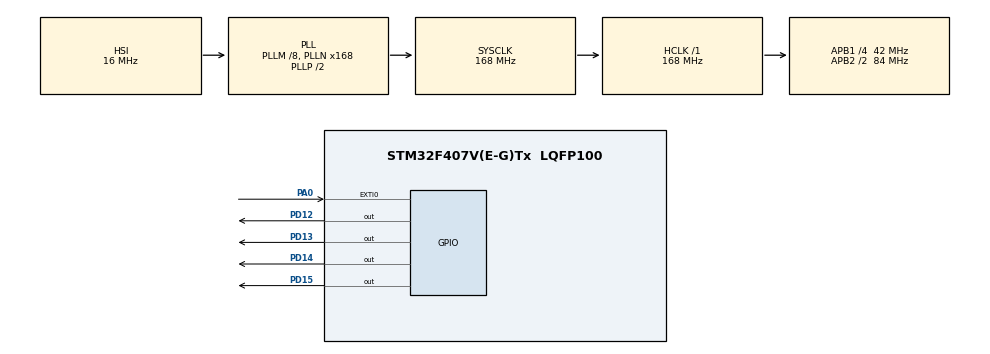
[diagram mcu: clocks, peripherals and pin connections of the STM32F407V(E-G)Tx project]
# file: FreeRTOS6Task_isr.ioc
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Mcu.Family=STM32F4
Mcu.Name=STM32F407V(E-G)Tx
Mcu.Package=LQFP100
NVIC.EXTI0_IRQn=true\:6\:0\:true\:false\:true\:true\:true\:true
NVIC.PriorityGroup=NVIC_PRIORITYGROUP_4
NVIC.TIM6_DAC_IRQn=true\:15\:0\:false\:false\:true\:false\:true\:true
NVIC.TimeBase=TIM6_DAC_IRQn
NVIC.TimeBaseIP=TIM6
PA0-WKUP.Signal=GPXTI0
PD12.Signal=GPIO_Output
PD13.Signal=GPIO_Output
PD14.Signal=GPIO_Output
PD15.Signal=GPIO_Output
PH0-OSC_IN.Mode=HSE-External-Oscillator
PH0-OSC_IN.Signal=RCC_OSC_IN
PH1-OSC_OUT.Mode=HSE-External-Oscillator
PH1-OSC_OUT.Signal=RCC_OSC_OUT
ProjectManager.HeapSize=0x200
ProjectManager.StackSize=0x400
ProjectManager.TargetToolchain=STM32CubeIDE
RCC.48MHZClocksFreq_Value=84000000
RCC.AHBFreq_Value=168000000
RCC.APB1CLKDivider=RCC_HCLK_DIV4
RCC.APB1Freq_Value=42000000
RCC.APB1TimFreq_Value=84000000
RCC.APB2CLKDivider=RCC_HCLK_DIV2
RCC.APB2Freq_Value=84000000
RCC.APB2TimFreq_Value=168000000
RCC.CortexFreq_Value=168000000
RCC.HCLKFreq_Value=168000000
RCC.HSE_VALUE=25000000
RCC.HSI_VALUE=16000000
RCC.LSE_VALUE=32768
RCC.PLLM=8
RCC.PLLN=168
RCC.SYSCLKFreq_VALUE=168000000
RCC.SYSCLKSource=RCC_SYSCLKSOURCE_PLLCLK
RCC.VCOOutputFreq_Value=336000000
VP_SYS_VS_tim6.Mode=TIM6
board=custom

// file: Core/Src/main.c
/* USER CODE BEGIN Header */
/**
  ******************************************************************************
  * @file           : main.c
  * @brief          : Main program body
  ******************************************************************************
  * @attention
  *
  * Copyright (c) 2023 STMicroelectronics.
  * All rights reserved.
  *
  * This software is licensed under terms that can be found in the LICENSE file
  * in the root directory of this software component.
  * If no LICENSE file comes with this software, it is provided AS-IS.
  *
  ******************************************************************************
  */
/* USER CODE END Header */
#include "main.h"

/* USER CODE BEGIN Includes */
#include <stdio.h>
#include "FreeRTOS.h"
#include "task.h"
/* USER CODE END Includes */

/* USER CODE BEGIN PV */
#define DWT_CTRL (*(volatile uint32_t*) 0xE0001000)   // for segger sysview config
/* USER CODE END PV */

void SystemClock_Config(void);
static void MX_GPIO_Init(void);
/* USER CODE BEGIN PFP */

static void led_green_handler (void* parameters);
static void led_orange_handler (void* parameters);
static void led_red_handler (void* parameters);
static void led_blue_handler (void* parameters);

extern void SEGGER_UART_init(uint32_t);

TaskHandle_t ledg_task_handle;
TaskHandle_t ledr_task_handle;
TaskHandle_t ledo_task_handle;
TaskHandle_t ledb_task_handle;
TaskHandle_t btn_task_handle;

TaskHandle_t volatile next_task_handle = NULL;

/* USER CODE END PFP */

int main(void)
{
  /* USER CODE BEGIN 1 */
	BaseType_t status;
  /* USER CODE END 1 */

  /* MCU Configuration--------------------------------------------------------*/

  /* Reset of all peripherals, Initializes the Flash interface and the Systick. */
  HAL_Init();

  /* Configure the system clock */
  SystemClock_Config();

  /* Initialize all configured peripherals */
  MX_GPIO_Init();
  /* USER CODE BEGIN 2 */

  SEGGER_UART_init(500000);

  //CYCLCNT enable
  DWT_CTRL |= ( 1 << 0);

  SEGGER_SYSVIEW_Conf();
  printf("in main loop");
  status = xTaskCreate(led_green_handler, "LED_green_task", 200, NULL, 4, &ledg_task_handle);

  configASSERT(status == pdPASS);

  next_task_handle = ledg_task_handle;

  status = xTaskCreate(led_red_handler, "LED_red_task", 200,NULL, 3, &ledr_task_handle);

  configASSERT(status == pdPASS);

  status = xTaskCreate(led_orange_handler, "LED_orange_task", 200, NULL, 2, &ledo_task_handle);

  configASSERT(status == pdPASS);

  status = xTaskCreate(led_blue_handler, "LED_blue_task", 200, NULL, 1, &ledb_task_handle);

  configASSERT(status == pdPASS);

  //start the freeRTOS scheduler
  vTaskStartScheduler();

  /* USER CODE END 2 */

  /* Infinite loop */
  while (1)
  {

  }
}

void SystemClock_Config(void)
{
  RCC_OscInitTypeDef RCC_OscInitStruct = {0};
  RCC_ClkInitTypeDef RCC_ClkInitStruct = {0};

  /** Configure the main internal regulator output voltage
  */
  __HAL_RCC_PWR_CLK_ENABLE();
  __HAL_PWR_VOLTAGESCALING_CONFIG(PWR_REGULATOR_VOLTAGE_SCALE1);

  /** Initializes the RCC Oscillators according to the specified parameters
  * in the RCC_OscInitTypeDef structure.
  */
  RCC_OscInitStruct.OscillatorType = RCC_OSCILLATORTYPE_HSI;
  RCC_OscInitStruct.HSIState = RCC_HSI_ON;
  RCC_OscInitStruct.HSICalibrationValue = RCC_HSICALIBRATION_DEFAULT;
  RCC_OscInitStruct.PLL.PLLState = RCC_PLL_ON;
  RCC_OscInitStruct.PLL.PLLSource = RCC_PLLSOURCE_HSI;
  RCC_OscInitStruct.PLL.PLLM = 8;
  RCC_OscInitStruct.PLL.PLLN = 168;
  RCC_OscInitStruct.PLL.PLLP = RCC_PLLP_DIV2;
  RCC_OscInitStruct.PLL.PLLQ = 4;
  if (HAL_RCC_OscConfig(&RCC_OscInitStruct) != HAL_OK)
  {
    Error_Handler();
  }

  /** Initializes the CPU, AHB and APB buses clocks
  */
  RCC_ClkInitStruct.ClockType = RCC_CLOCKTYPE_HCLK|RCC_CLOCKTYPE_SYSCLK
                              |RCC_CLOCKTYPE_PCLK1|RCC_CLOCKTYPE_PCLK2;
  RCC_ClkInitStruct.SYSCLKSource = RCC_SYSCLKSOURCE_PLLCLK;
  RCC_ClkInitStruct.AHBCLKDivider = RCC_SYSCLK_DIV1;
  RCC_ClkInitStruct.APB1CLKDivider = RCC_HCLK_DIV4;
  RCC_ClkInitStruct.APB2CLKDivider = RCC_HCLK_DIV2;

  if (HAL_RCC_ClockConfig(&RCC_ClkInitStruct, FLASH_LATENCY_5) != HAL_OK)
  {
    Error_Handler();
  }
}

static void MX_GPIO_Init(void)
{
  GPIO_InitTypeDef GPIO_InitStruct = {0};

  /* GPIO Ports Clock Enable */
  __HAL_RCC_GPIOH_CLK_ENABLE();
  __HAL_RCC_GPIOA_CLK_ENABLE();
  __HAL_RCC_GPIOD_CLK_ENABLE();

  /*Configure GPIO pin Output Level */
  HAL_GPIO_WritePin(GPIOD, GPIO_PIN_12|GPIO_PIN_13|GPIO_PIN_14|GPIO_PIN_15, GPIO_PIN_RESET);

  /*Configure GPIO pin : PA0 */
  GPIO_InitStruct.Pin = GPIO_PIN_0;
  GPIO_InitStruct.Mode = GPIO_MODE_IT_RISING;
  GPIO_InitStruct.Pull = GPIO_NOPULL;
  HAL_GPIO_Init(GPIOA, &GPIO_InitStruct);

  /*Configure GPIO pins : PD12 PD13 PD14 PD15 */
  GPIO_InitStruct.Pin = GPIO_PIN_12|GPIO_PIN_13|GPIO_PIN_14|GPIO_PIN_15;
  GPIO_InitStruct.Mode = GPIO_MODE_OUTPUT_PP;
  GPIO_InitStruct.Pull = GPIO_NOPULL;
  GPIO_InitStruct.Speed = GPIO_SPEED_FREQ_LOW;
  HAL_GPIO_Init(GPIOD, &GPIO_InitStruct);

  /* EXTI interrupt init*/
  HAL_NVIC_SetPriority(EXTI0_IRQn, 6, 0);
  HAL_NVIC_EnableIRQ(EXTI0_IRQn);

}

/* USER CODE BEGIN 4 */

void button_interrupt_handler(void)
{
	BaseType_t pxHigherPriorityTaskWoken;

	pxHigherPriorityTaskWoken = pdFALSE;

	traceISR_ENTER();
	xTaskNotifyFromISR(next_task_handle,0,eNoAction,&pxHigherPriorityTaskWoken);

	/* once the ISR exits, the below macro makes higher priority task which got unblocked to resume on the CPU */
	portYIELD_FROM_ISR(pxHigherPriorityTaskWoken);

	traceISR_EXIT();
}

static void led_green_handler(void* parameters)
{
	BaseType_t  status;
	while(1)
	{
		SEGGER_SYSVIEW_PrintfTarget("Toggling green LED");
		HAL_GPIO_TogglePin(GPIOD, GPIO_PIN_12);
		status = xTaskNotifyWait(0,0,NULL,pdMS_TO_TICKS(1000));
		if(status == pdTRUE){
			portENTER_CRITICAL();
			next_task_handle = ledo_task_handle;
			HAL_GPIO_WritePin(GPIOD, GPIO_PIN_12,GPIO_PIN_SET);
			SEGGER_SYSVIEW_PrintfTarget("Delete green LED task");
			portEXIT_CRITICAL();
			vTaskDelete(NULL);
		}
	}
}

static void led_orange_handler(void* parameters)
{
	BaseType_t  status;

	while(1)
	{
		SEGGER_SYSVIEW_PrintfTarget("Toggling orange LED");
		HAL_GPIO_TogglePin(GPIOD, GPIO_PIN_13 );
		status = xTaskNotifyWait(0,0,NULL,pdMS_TO_TICKS(800));
		if(status == pdTRUE){
			portENTER_CRITICAL();
			next_task_handle = ledr_task_handle;
			HAL_GPIO_WritePin(GPIOD, GPIO_PIN_13,GPIO_PIN_SET);
			SEGGER_SYSVIEW_PrintfTarget("Delete orange LED task");
			portEXIT_CRITICAL();
			vTaskDelete(NULL);
		}
	}

}

static void led_red_handler(void* parameters)
{
	BaseType_t  status;

	while(1)
	{
		SEGGER_SYSVIEW_PrintfTarget("Toggling red LED");
		HAL_GPIO_TogglePin(GPIOD, GPIO_PIN_14);
		status = xTaskNotifyWait(0,0,NULL,pdMS_TO_TICKS(600));
		if(status == pdTRUE){
			portENTER_CRITICAL();
			next_task_handle = ledb_task_handle;
			HAL_GPIO_WritePin(GPIOD, GPIO_PIN_14,GPIO_PIN_SET);
			SEGGER_SYSVIEW_PrintfTarget("Delete red LED task");
			portEXIT_CRITICAL();
			vTaskDelete(NULL);
		}
	}
}

static void led_blue_handler(void* parameters)
{
	BaseType_t  status;

	while(1)
	{
		SEGGER_SYSVIEW_PrintfTarget("Toggling blue LED");
		HAL_GPIO_TogglePin(GPIOD, GPIO_PIN_15);
		status = xTaskNotifyWait(0,0,NULL,pdMS_TO_TICKS(400));
		if(status == pdTRUE){
			portENTER_CRITICAL();
			next_task_handle = NULL;
			HAL_GPIO_WritePin(GPIOD, GPIO_PIN_15,GPIO_PIN_SET);
			SEGGER_SYSVIEW_PrintfTarget("Delete blue LED task");
			portEXIT_CRITICAL();
			vTaskDelete(NULL);
		}
	}
}

/* USER CODE END 4 */

void HAL_TIM_PeriodElapsedCallback(TIM_HandleTypeDef *htim)
{
  if (htim->Instance == TIM6) {
    HAL_IncTick();
  }
}

void Error_Handler(void)
{
  __disable_irq();
  while (1)
  {
  }
}
